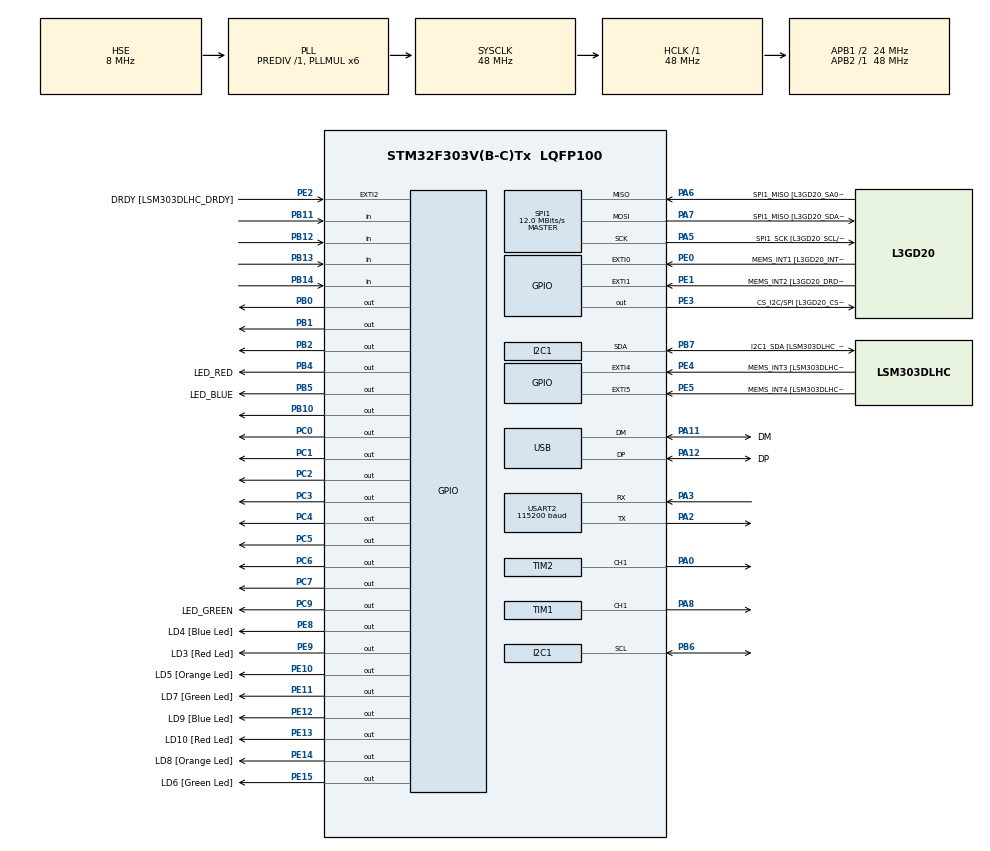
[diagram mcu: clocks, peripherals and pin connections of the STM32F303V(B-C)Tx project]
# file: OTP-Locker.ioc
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Mcu.Family=STM32F3
Mcu.Name=STM32F303V(B-C)Tx
Mcu.Package=LQFP100
NVIC.PriorityGroup=NVIC_PRIORITYGROUP_0
NVIC.TIM3_IRQn=true\:0\:0\:false\:false\:true\:true\:true\:true
PA0.Signal=S_TIM2_CH1_ETR
PA11.GPIO_Label=DM
PA11.Mode=Device
PA11.Signal=USB_DM
PA12.GPIO_Label=DP
PA12.Mode=Device
PA12.Signal=USB_DP
PA13.GPIO_Label=SWDIO
PA13.Mode=Serial_Wire
PA13.Signal=SYS_JTMS-SWDIO
PA14.GPIO_Label=SWCLK
PA14.Mode=Serial_Wire
PA14.Signal=SYS_JTCK-SWCLK
PA2.Mode=Asynchronous
PA2.Signal=USART2_TX
PA3.Mode=Asynchronous
PA3.Signal=USART2_RX
PA5.GPIO_Label=SPI1_SCK [L3GD20_SCL/SPC]
PA5.Mode=Full_Duplex_Master
PA5.Signal=SPI1_SCK
PA6.GPIO_Label=SPI1_MISO [L3GD20_SA0/SDO]
PA6.Mode=Full_Duplex_Master
PA6.Signal=SPI1_MISO
PA7.GPIO_Label=SPI1_MISO [L3GD20_SDA/SDI/SDO]
PA7.Mode=Full_Duplex_Master
PA7.Signal=SPI1_MOSI
PA8.Signal=S_TIM1_CH1
PB0.Signal=GPIO_Output
PB1.Signal=GPIO_Output
PB10.Signal=GPIO_Output
PB11.GPIO_PuPd=GPIO_PULLDOWN
PB11.Signal=GPIO_Input
PB12.GPIO_PuPd=GPIO_PULLDOWN
PB12.Signal=GPIO_Input
PB13.GPIO_PuPd=GPIO_PULLDOWN
PB13.Signal=GPIO_Input
PB14.GPIO_PuPd=GPIO_PULLDOWN
PB14.Signal=GPIO_Input
PB2.Signal=GPIO_Output
PB3.GPIO_Label=SWO
PB3.Signal=SYS_JTDO-TRACESWO
PB4.GPIO_Label=LED_RED
PB4.Signal=GPIO_Output
PB5.GPIO_Label=LED_BLUE
PB5.Signal=GPIO_Output
PB6.Mode=I2C
PB6.Signal=I2C1_SCL
PB7.GPIO_Label=I2C1_SDA [LSM303DLHC_SDA]
PB7.GPIO_Pu=GPIO_PULLUP
PB7.Mode=I2C
PB7.Signal=I2C1_SDA
PC0.Signal=GPIO_Output
PC1.Signal=GPIO_Output
PC14-OSC32_IN.GPIO_Label=OSC32_IN
PC14-OSC32_IN.Signal=RCC_OSC32_IN
PC15-OSC32_OUT.GPIO_Label=OSC32_OUT
PC15-OSC32_OUT.Signal=RCC_OSC32_OUT
PC2.Signal=GPIO_Output
PC3.Signal=GPIO_Output
PC4.Signal=GPIO_Output
PC5.Signal=GPIO_Output
PC6.Signal=GPIO_Output
PC7.Signal=GPIO_Output
PC9.GPIO_Label=LED_GREEN
PC9.Signal=GPIO_Output
PE0.GPIO_Label=MEMS_INT1 [L3GD20_INT1]
PE0.GPIO_ModeDefaultEXTI=GPIO_MODE_EVT_RISING
PE0.Signal=GPXTI0
PE1.GPIO_Label=MEMS_INT2 [L3GD20_DRDY/INT2]
PE1.GPIO_ModeDefaultEXTI=GPIO_MODE_EVT_RISING
PE1.Signal=GPXTI1
PE10.GPIO_Label=LD5 [Orange Led]
PE10.Signal=GPIO_Output
PE11.GPIO_Label=LD7 [Green Led]
PE11.Signal=GPIO_Output
PE12.GPIO_Label=LD9 [Blue Led]
PE12.Signal=GPIO_Output
PE13.GPIO_Label=LD10 [Red Led]
PE13.Signal=GPIO_Output
PE14.GPIO_Label=LD8 [Orange Led]
PE14.Signal=GPIO_Output
PE15.GPIO_Label=LD6 [Green Led]
PE15.Signal=GPIO_Output
PE2.GPIO_Label=DRDY [LSM303DLHC_DRDY]
PE2.GPIO_ModeDefaultEXTI=GPIO_MODE_EVT_RISING
PE2.Signal=GPXTI2
PE3.GPIO_Label=CS_I2C/SPI [L3GD20_CS_I2C/SPI]
PE3.Signal=GPIO_Output
PE4.GPIO_Label=MEMS_INT3 [LSM303DLHC_INT1]
PE4.GPIO_ModeDefaultEXTI=GPIO_MODE_EVT_RISING
PE4.Signal=GPXTI4
PE5.GPIO_Label=MEMS_INT4 [LSM303DLHC_INT2]
PE5.GPIO_ModeDefaultEXTI=GPIO_MODE_EVT_RISING
PE5.Signal=GPXTI5
PE8.GPIO_Label=LD4 [Blue Led]
PE8.Signal=GPIO_Output
PE9.GPIO_Label=LD3 [Red Led]
PE9.Signal=GPIO_Output
PF0-OSC_IN.GPIO_Label=OSC_IN
PF0-OSC_IN.Mode=HSE-External-Clock-Source
PF0-OSC_IN.Signal=RCC_OSC_IN
PF1-OSC_OUT.GPIO_Label=OSC_OUT
PF1-OSC_OUT.Signal=RCC_OSC_OUT
ProjectManager.HeapSize=0x200
ProjectManager.StackSize=0x400
ProjectManager.TargetToolchain=STM32CubeIDE
RCC.AHBFreq_Value=48000000
RCC.APB1CLKDivider=RCC_HCLK_DIV2
RCC.APB1Freq_Value=24000000
RCC.APB1TimFreq_Value=48000000
RCC.APB2Freq_Value=48000000
RCC.APB2TimFreq_Value=48000000
RCC.CortexFreq_Value=48000000
RCC.HCLKFreq_Value=48000000
RCC.HSE_VALUE=8000000
RCC.HSI_VALUE=8000000
RCC.LSE_VALUE=32768
RCC.PLLMUL=RCC_PLL_MUL6
RCC.SYSCLKFreq_VALUE=48000000
RCC.SYSCLKSourceVirtual=RCC_SYSCLKSOURCE_PLLCLK
RCC.USBFreq_Value=48000000
SH.S_TIM1_CH1.0=TIM1_CH1,PWM Generation1 CH1
SH.S_TIM2_CH1_ETR.0=TIM2_CH1,PWM Generation1 CH1
SPI1.BaudRatePrescaler=SPI_BAUDRATEPRESCALER_4
SPI1.BaudRatePrescaler-Full_Duplex_Master=SPI_BAUDRATEPRESCALER_2
SPI1.CalculateBaudRate=12.0 MBits/s
SPI1.CalculateBaudRate-Full_Duplex_Master=24.0 MBits/s
SPI1.Direction=SPI_DIRECTION_2LINES
SPI1.Mode=SPI_MODE_MASTER
SPI1.Mode-Full_Duplex_Master=SPI_MODE_MASTER
SPI1.VirtualType=VM_MASTER
TIM1.Channel-PWM\ Generation1\ CH1=TIM_CHANNEL_1
TIM1.Period=19999
TIM1.Prescaler=71
TIM2.Channel-PWM\ Generation1\ CH1=TIM_CHANNEL_1
TIM2.Period=499
TIM2.Prescaler=71
TIM2.Pulse-PWM\ Generation1\ CH1=250
TIM3.Period=9
TIM3.Prescaler=47999
USART2.BaudRate=115200
USART2.VirtualMode-Asynchronous=VM_ASYNC
VP_TIM3_VS_ClockSourceINT.Mode=Internal
board=STM32F3DISCOVERY

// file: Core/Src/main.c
/* USER CODE BEGIN Header */
/**
  ******************************************************************************
  * @file           : main.c
  * @brief          : Main program body
  ******************************************************************************
  * @attention
  *
  * Copyright (c) 2026 STMicroelectronics.
  * All rights reserved.
  *
  * This software is licensed under terms that can be found in the LICENSE file
  * in the root directory of this software component.
  * If no LICENSE file comes with this software, it is provided AS-IS.
  *
  ******************************************************************************
  */
/* USER CODE END Header */
#include "main.h"

/* USER CODE BEGIN Includes */
#include "alarm.h"
#include "servo.h"
#include "keypad.h"
#include "ssd1306.h"
#include "fsm.h"
#include "esp_uart.h"
/* USER CODE END Includes */

I2C_HandleTypeDef hi2c1;

SPI_HandleTypeDef hspi1;

TIM_HandleTypeDef htim1;
TIM_HandleTypeDef htim2;
TIM_HandleTypeDef htim3;

UART_HandleTypeDef huart2;

PCD_HandleTypeDef hpcd_USB_FS;

/* USER CODE BEGIN PV */
char key = '\0';
/* USER CODE END PV */

void SystemClock_Config(void);
static void MX_GPIO_Init(void);
static void MX_I2C1_Init(void);
static void MX_SPI1_Init(void);
static void MX_USB_PCD_Init(void);
static void MX_TIM1_Init(void);
static void MX_TIM2_Init(void);
static void MX_USART2_UART_Init(void);
static void MX_TIM3_Init(void);

/* USER CODE BEGIN 0 */
#include <stdio.h>

/* USER CODE END 0 */

int main(void)
{

  /* MCU Configuration--------------------------------------------------------*/

  /* Reset of all peripherals, Initializes the Flash interface and the Systick. */
  HAL_Init();

  /* Configure the system clock */
  SystemClock_Config();

  /* Initialize all configured peripherals */
  MX_GPIO_Init();
  MX_I2C1_Init();
  MX_SPI1_Init();
  MX_USB_PCD_Init();
  MX_TIM1_Init();
  MX_TIM2_Init();
  MX_USART2_UART_Init();
  MX_TIM3_Init();
  /* USER CODE BEGIN 2 */
  HAL_TIM_Base_Start_IT(&htim3);
  HAL_TIM_PWM_Start(&htim1, TIM_CHANNEL_1);

  Alarm_Init(&htim2);
  Keypad_Init();
  SSD1306_Init(&hi2c1);

  Servo_Close();

  ESP_UART_Init(&huart2);

  FSM_Init();
  /* USER CODE END 2 */

  /* Infinite loop */
  while (1)
  {

    /* USER CODE BEGIN 3 */
	  key = Keypad_GetKey();

	  ESP_UART_Update();
	  Alarm_Update();

	  if (ESP_UART_IsAckOtpSent())
	  {
	      FSM_OnEspAckOtpSent();
	      ESP_UART_ClearAckOtpSent();
	  }

	  if (ESP_UART_HasOtp())
	  {
	      FSM_OnEspOtpReceived(ESP_UART_GetOtp());
	      ESP_UART_ClearOtp();
	  }

	  FSM_Update(key);
  }
  /* USER CODE END 3 */
}

void SystemClock_Config(void)
{
  RCC_OscInitTypeDef RCC_OscInitStruct = {0};
  RCC_ClkInitTypeDef RCC_ClkInitStruct = {0};
  RCC_PeriphCLKInitTypeDef PeriphClkInit = {0};

  /** Initializes the RCC Oscillators according to the specified parameters
  * in the RCC_OscInitTypeDef structure.
  */
  RCC_OscInitStruct.OscillatorType = RCC_OSCILLATORTYPE_HSI|RCC_OSCILLATORTYPE_HSE;
  RCC_OscInitStruct.HSEState = RCC_HSE_BYPASS;
  RCC_OscInitStruct.HSEPredivValue = RCC_HSE_PREDIV_DIV1;
  RCC_OscInitStruct.HSIState = RCC_HSI_ON;
  RCC_OscInitStruct.HSICalibrationValue = RCC_HSICALIBRATION_DEFAULT;
  RCC_OscInitStruct.PLL.PLLState = RCC_PLL_ON;
  RCC_OscInitStruct.PLL.PLLSource = RCC_PLLSOURCE_HSE;
  RCC_OscInitStruct.PLL.PLLMUL = RCC_PLL_MUL6;
  if (HAL_RCC_OscConfig(&RCC_OscInitStruct) != HAL_OK)
  {
    Error_Handler();
  }

  /** Initializes the CPU, AHB and APB buses clocks
  */
  RCC_ClkInitStruct.ClockType = RCC_CLOCKTYPE_HCLK|RCC_CLOCKTYPE_SYSCLK
                              |RCC_CLOCKTYPE_PCLK1|RCC_CLOCKTYPE_PCLK2;
  RCC_ClkInitStruct.SYSCLKSource = RCC_SYSCLKSOURCE_PLLCLK;
  RCC_ClkInitStruct.AHBCLKDivider = RCC_SYSCLK_DIV1;
  RCC_ClkInitStruct.APB1CLKDivider = RCC_HCLK_DIV2;
  RCC_ClkInitStruct.APB2CLKDivider = RCC_HCLK_DIV1;

  if (HAL_RCC_ClockConfig(&RCC_ClkInitStruct, FLASH_LATENCY_1) != HAL_OK)
  {
    Error_Handler();
  }
  PeriphClkInit.PeriphClockSelection = RCC_PERIPHCLK_USB|RCC_PERIPHCLK_USART2
                              |RCC_PERIPHCLK_I2C1|RCC_PERIPHCLK_TIM1;
  PeriphClkInit.Usart2ClockSelection = RCC_USART2CLKSOURCE_PCLK1;
  PeriphClkInit.I2c1ClockSelection = RCC_I2C1CLKSOURCE_HSI;
  PeriphClkInit.USBClockSelection = RCC_USBCLKSOURCE_PLL;
  PeriphClkInit.Tim1ClockSelection = RCC_TIM1CLK_HCLK;
  if (HAL_RCCEx_PeriphCLKConfig(&PeriphClkInit) != HAL_OK)
  {
    Error_Handler();
  }
}

static void MX_I2C1_Init(void)
{

  hi2c1.Instance = I2C1;
  hi2c1.Init.Timing = 0x2000090E;
  hi2c1.Init.OwnAddress1 = 0;
  hi2c1.Init.AddressingMode = I2C_ADDRESSINGMODE_7BIT;
  hi2c1.Init.DualAddressMode = I2C_DUALADDRESS_DISABLE;
  hi2c1.Init.OwnAddress2 = 0;
  hi2c1.Init.OwnAddress2Masks = I2C_OA2_NOMASK;
  hi2c1.Init.GeneralCallMode = I2C_GENERALCALL_DISABLE;
  hi2c1.Init.NoStretchMode = I2C_NOSTRETCH_DISABLE;
  if (HAL_I2C_Init(&hi2c1) != HAL_OK)
  {
    Error_Handler();
  }

  /** Configure Analogue filter
  */
  if (HAL_I2CEx_ConfigAnalogFilter(&hi2c1, I2C_ANALOGFILTER_ENABLE) != HAL_OK)
  {
    Error_Handler();
  }

  /** Configure Digital filter
  */
  if (HAL_I2CEx_ConfigDigitalFilter(&hi2c1, 0) != HAL_OK)
  {
    Error_Handler();
  }

}

static void MX_SPI1_Init(void)
{

  /* SPI1 parameter configuration*/
  hspi1.Instance = SPI1;
  hspi1.Init.Mode = SPI_MODE_MASTER;
  hspi1.Init.Direction = SPI_DIRECTION_2LINES;
  hspi1.Init.DataSize = SPI_DATASIZE_4BIT;
  hspi1.Init.CLKPolarity = SPI_POLARITY_LOW;
  hspi1.Init.CLKPhase = SPI_PHASE_1EDGE;
  hspi1.Init.NSS = SPI_NSS_SOFT;
  hspi1.Init.BaudRatePrescaler = SPI_BAUDRATEPRESCALER_4;
  hspi1.Init.FirstBit = SPI_FIRSTBIT_MSB;
  hspi1.Init.TIMode = SPI_TIMODE_DISABLE;
  hspi1.Init.CRCCalculation = SPI_CRCCALCULATION_DISABLE;
  hspi1.Init.CRCPolynomial = 7;
  hspi1.Init.CRCLength = SPI_CRC_LENGTH_DATASIZE;
  hspi1.Init.NSSPMode = SPI_NSS_PULSE_ENABLE;
  if (HAL_SPI_Init(&hspi1) != HAL_OK)
  {
    Error_Handler();
  }

}

static void MX_TIM1_Init(void)
{

  TIM_MasterConfigTypeDef sMasterConfig = {0};
  TIM_OC_InitTypeDef sConfigOC = {0};
  TIM_BreakDeadTimeConfigTypeDef sBreakDeadTimeConfig = {0};

  htim1.Instance = TIM1;
  htim1.Init.Prescaler = 71;
  htim1.Init.CounterMode = TIM_COUNTERMODE_UP;
  htim1.Init.Period = 19999;
  htim1.Init.ClockDivision = TIM_CLOCKDIVISION_DIV1;
  htim1.Init.RepetitionCounter = 0;
  htim1.Init.AutoReloadPreload = TIM_AUTORELOAD_PRELOAD_DISABLE;
  if (HAL_TIM_PWM_Init(&htim1) != HAL_OK)
  {
    Error_Handler();
  }
  sMasterConfig.MasterOutputTrigger = TIM_TRGO_RESET;
  sMasterConfig.MasterOutputTrigger2 = TIM_TRGO2_RESET;
  sMasterConfig.MasterSlaveMode = TIM_MASTERSLAVEMODE_DISABLE;
  if (HAL_TIMEx_MasterConfigSynchronization(&htim1, &sMasterConfig) != HAL_OK)
  {
    Error_Handler();
  }
  sConfigOC.OCMode = TIM_OCMODE_PWM1;
  sConfigOC.Pulse = 0;
  sConfigOC.OCPolarity = TIM_OCPOLARITY_HIGH;
  sConfigOC.OCNPolarity = TIM_OCNPOLARITY_HIGH;
  sConfigOC.OCFastMode = TIM_OCFAST_DISABLE;
  sConfigOC.OCIdleState = TIM_OCIDLESTATE_RESET;
  sConfigOC.OCNIdleState = TIM_OCNIDLESTATE_RESET;
  if (HAL_TIM_PWM_ConfigChannel(&htim1, &sConfigOC, TIM_CHANNEL_1) != HAL_OK)
  {
    Error_Handler();
  }
  sBreakDeadTimeConfig.OffStateRunMode = TIM_OSSR_DISABLE;
  sBreakDeadTimeConfig.OffStateIDLEMode = TIM_OSSI_DISABLE;
  sBreakDeadTimeConfig.LockLevel = TIM_LOCKLEVEL_OFF;
  sBreakDeadTimeConfig.DeadTime = 0;
  sBreakDeadTimeConfig.BreakState = TIM_BREAK_DISABLE;
  sBreakDeadTimeConfig.BreakPolarity = TIM_BREAKPOLARITY_HIGH;
  sBreakDeadTimeConfig.BreakFilter = 0;
  sBreakDeadTimeConfig.Break2State = TIM_BREAK2_DISABLE;
  sBreakDeadTimeConfig.Break2Polarity = TIM_BREAK2POLARITY_HIGH;
  sBreakDeadTimeConfig.Break2Filter = 0;
  sBreakDeadTimeConfig.AutomaticOutput = TIM_AUTOMATICOUTPUT_DISABLE;
  if (HAL_TIMEx_ConfigBreakDeadTime(&htim1, &sBreakDeadTimeConfig) != HAL_OK)
  {
    Error_Handler();
  }
  HAL_TIM_MspPostInit(&htim1);

}

static void MX_TIM2_Init(void)
{

  TIM_MasterConfigTypeDef sMasterConfig = {0};
  TIM_OC_InitTypeDef sConfigOC = {0};

  htim2.Instance = TIM2;
  htim2.Init.Prescaler = 71;
  htim2.Init.CounterMode = TIM_COUNTERMODE_UP;
  htim2.Init.Period = 499;
  htim2.Init.ClockDivision = TIM_CLOCKDIVISION_DIV1;
  htim2.Init.AutoReloadPreload = TIM_AUTORELOAD_PRELOAD_DISABLE;
  if (HAL_TIM_PWM_Init(&htim2) != HAL_OK)
  {
    Error_Handler();
  }
  sMasterConfig.MasterOutputTrigger = TIM_TRGO_RESET;
  sMasterConfig.MasterSlaveMode = TIM_MASTERSLAVEMODE_DISABLE;
  if (HAL_TIMEx_MasterConfigSynchronization(&htim2, &sMasterConfig) != HAL_OK)
  {
    Error_Handler();
  }
  sConfigOC.OCMode = TIM_OCMODE_PWM1;
  sConfigOC.Pulse = 250;
  sConfigOC.OCPolarity = TIM_OCPOLARITY_HIGH;
  sConfigOC.OCFastMode = TIM_OCFAST_DISABLE;
  if (HAL_TIM_PWM_ConfigChannel(&htim2, &sConfigOC, TIM_CHANNEL_1) != HAL_OK)
  {
    Error_Handler();
  }
  HAL_TIM_MspPostInit(&htim2);

}

static void MX_TIM3_Init(void)
{

  TIM_ClockConfigTypeDef sClockSourceConfig = {0};
  TIM_MasterConfigTypeDef sMasterConfig = {0};

  htim3.Instance = TIM3;
  htim3.Init.Prescaler = 47999;
  htim3.Init.CounterMode = TIM_COUNTERMODE_UP;
  htim3.Init.Period = 9;
  htim3.Init.ClockDivision = TIM_CLOCKDIVISION_DIV1;
  htim3.Init.AutoReloadPreload = TIM_AUTORELOAD_PRELOAD_DISABLE;
  if (HAL_TIM_Base_Init(&htim3) != HAL_OK)
  {
    Error_Handler();
  }
  sClockSourceConfig.ClockSource = TIM_CLOCKSOURCE_INTERNAL;
  if (HAL_TIM_ConfigClockSource(&htim3, &sClockSourceConfig) != HAL_OK)
  {
    Error_Handler();
  }
  sMasterConfig.MasterOutputTrigger = TIM_TRGO_RESET;
  sMasterConfig.MasterSlaveMode = TIM_MASTERSLAVEMODE_DISABLE;
  if (HAL_TIMEx_MasterConfigSynchronization(&htim3, &sMasterConfig) != HAL_OK)
  {
    Error_Handler();
  }

}

static void MX_USART2_UART_Init(void)
{

  huart2.Instance = USART2;
  huart2.Init.BaudRate = 115200;
  huart2.Init.WordLength = UART_WORDLENGTH_8B;
  huart2.Init.StopBits = UART_STOPBITS_1;
  huart2.Init.Parity = UART_PARITY_NONE;
  huart2.Init.Mode = UART_MODE_TX_RX;
  huart2.Init.HwFlowCtl = UART_HWCONTROL_NONE;
  huart2.Init.OverSampling = UART_OVERSAMPLING_16;
  huart2.Init.OneBitSampling = UART_ONE_BIT_SAMPLE_DISABLE;
  huart2.AdvancedInit.AdvFeatureInit = UART_ADVFEATURE_NO_INIT;
  if (HAL_UART_Init(&huart2) != HAL_OK)
  {
    Error_Handler();
  }

}

static void MX_USB_PCD_Init(void)
{

  hpcd_USB_FS.Instance = USB;
  hpcd_USB_FS.Init.dev_endpoints = 8;
  hpcd_USB_FS.Init.speed = PCD_SPEED_FULL;
  hpcd_USB_FS.Init.phy_itface = PCD_PHY_EMBEDDED;
  hpcd_USB_FS.Init.low_power_enable = DISABLE;
  hpcd_USB_FS.Init.battery_charging_enable = DISABLE;
  if (HAL_PCD_Init(&hpcd_USB_FS) != HAL_OK)
  {
    Error_Handler();
  }

}

static void MX_GPIO_Init(void)
{
  GPIO_InitTypeDef GPIO_InitStruct = {0};

  /* GPIO Ports Clock Enable */
  __HAL_RCC_GPIOE_CLK_ENABLE();
  __HAL_RCC_GPIOC_CLK_ENABLE();
  __HAL_RCC_GPIOF_CLK_ENABLE();
  __HAL_RCC_GPIOA_CLK_ENABLE();
  __HAL_RCC_GPIOB_CLK_ENABLE();

  /*Configure GPIO pin Output Level */
  HAL_GPIO_WritePin(GPIOE, CS_I2C_SPI_Pin|LD4_Pin|LD3_Pin|LD5_Pin
                          |LD7_Pin|LD9_Pin|LD10_Pin|LD8_Pin
                          |LD6_Pin, GPIO_PIN_RESET);

  /*Configure GPIO pin Output Level */
  HAL_GPIO_WritePin(GPIOC, GPIO_PIN_0|GPIO_PIN_1|GPIO_PIN_2|GPIO_PIN_3
                          |GPIO_PIN_4|GPIO_PIN_5|GPIO_PIN_6|GPIO_PIN_7
                          |LED_GREEN_Pin, GPIO_PIN_RESET);

  /*Configure GPIO pin Output Level */
  HAL_GPIO_WritePin(GPIOB, GPIO_PIN_0|GPIO_PIN_1|GPIO_PIN_2|GPIO_PIN_10
                          |LED_RED_Pin|LED_BLUE_Pin, GPIO_PIN_RESET);

  /*Configure GPIO pins : DRDY_Pin MEMS_INT3_Pin MEMS_INT4_Pin MEMS_INT1_Pin
                           MEMS_INT2_Pin */
  GPIO_InitStruct.Pin = DRDY_Pin|MEMS_INT3_Pin|MEMS_INT4_Pin|MEMS_INT1_Pin
                          |MEMS_INT2_Pin;
  GPIO_InitStruct.Mode = GPIO_MODE_EVT_RISING;
  GPIO_InitStruct.Pull = GPIO_NOPULL;
  HAL_GPIO_Init(GPIOE, &GPIO_InitStruct);

  /*Configure GPIO pins : CS_I2C_SPI_Pin LD4_Pin LD3_Pin LD5_Pin
                           LD7_Pin LD9_Pin LD10_Pin LD8_Pin
                           LD6_Pin */
  GPIO_InitStruct.Pin = CS_I2C_SPI_Pin|LD4_Pin|LD3_Pin|LD5_Pin
                          |LD7_Pin|LD9_Pin|LD10_Pin|LD8_Pin
                          |LD6_Pin;
  GPIO_InitStruct.Mode = GPIO_MODE_OUTPUT_PP;
  GPIO_InitStruct.Pull = GPIO_NOPULL;
  GPIO_InitStruct.Speed = GPIO_SPEED_FREQ_LOW;
  HAL_GPIO_Init(GPIOE, &GPIO_InitStruct);

  /*Configure GPIO pins : PC0 PC1 PC2 PC3
                           PC4 PC5 PC6 PC7
                           LED_GREEN_Pin */
  GPIO_InitStruct.Pin = GPIO_PIN_0|GPIO_PIN_1|GPIO_PIN_2|GPIO_PIN_3
                          |GPIO_PIN_4|GPIO_PIN_5|GPIO_PIN_6|GPIO_PIN_7
                          |LED_GREEN_Pin;
  GPIO_InitStruct.Mode = GPIO_MODE_OUTPUT_PP;
  GPIO_InitStruct.Pull = GPIO_NOPULL;
  GPIO_InitStruct.Speed = GPIO_SPEED_FREQ_LOW;
  HAL_GPIO_Init(GPIOC, &GPIO_InitStruct);

  /*Configure GPIO pins : PB0 PB1 PB2 PB10
                           LED_RED_Pin LED_BLUE_Pin */
  GPIO_InitStruct.Pin = GPIO_PIN_0|GPIO_PIN_1|GPIO_PIN_2|GPIO_PIN_10
                          |LED_RED_Pin|LED_BLUE_Pin;
  GPIO_InitStruct.Mode = GPIO_MODE_OUTPUT_PP;
  GPIO_InitStruct.Pull = GPIO_NOPULL;
  GPIO_InitStruct.Speed = GPIO_SPEED_FREQ_LOW;
  HAL_GPIO_Init(GPIOB, &GPIO_InitStruct);

  /*Configure GPIO pins : PB11 PB12 PB13 PB14 */
  GPIO_InitStruct.Pin = GPIO_PIN_11|GPIO_PIN_12|GPIO_PIN_13|GPIO_PIN_14;
  GPIO_InitStruct.Mode = GPIO_MODE_INPUT;
  GPIO_InitStruct.Pull = GPIO_PULLDOWN;
  HAL_GPIO_Init(GPIOB, &GPIO_InitStruct);

}

void Error_Handler(void)
{
  __disable_irq();
  while (1)
  {
  }
}
